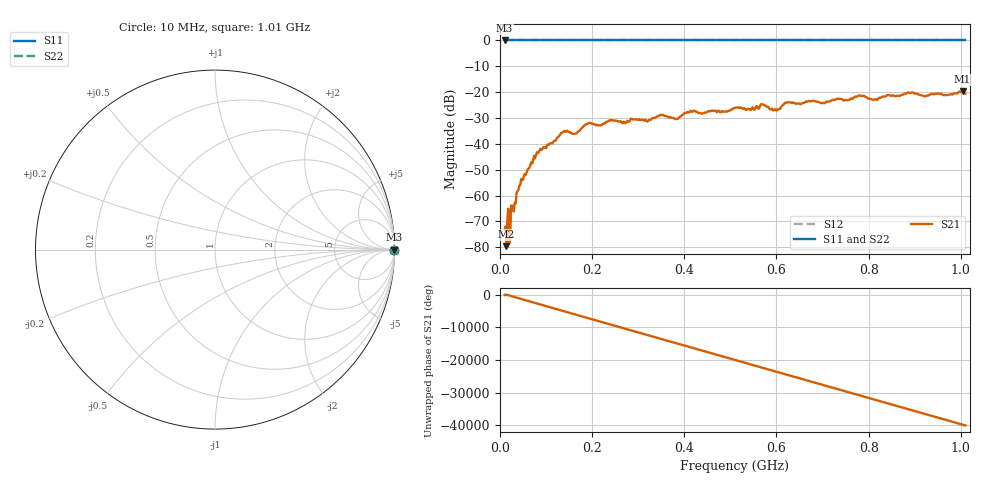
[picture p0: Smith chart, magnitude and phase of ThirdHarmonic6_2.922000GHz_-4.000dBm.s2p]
! 8/17/2025 8:08:01 AM
! C:\ANRITSUVNA\TEMP\TEMP.S2P
! CHANNEL.1
! TR.MEASUREMENT
! RAW.DATA
! RF.CORRECTION.OFF
! AVERAGING.OFF
! IF.BANDWIDTH: 5KHZ
! SWEEPTYPE:  FREQ.SWEEP(Linear)
! Reference Plane Port Info
! PORT:  PORT1  PORT2
! DISTANCE:  0  m  0  m
! TIME:  0  s  0  s
! PHASE.OFFSET:  0  deg.  0  deg.
! LOSS:  0  dB  0  dB
! REF.LOSS:  0  dB  0  dB
! REF.FREQ:  0  Hz  0  Hz
! Power Info
! POWER:  -20  dBm  -20  dBm
! EFF.POWER:  -20  dBm  -20  dBm
! SOURCE.ATTEN:  0  dB  0  dB
! TEST.ATTEN:  0  dB  0  dB
# GHZ S RI R 50.0
! FREQ.GHZ  S11RE  S11IM  S21RE  S21IM  S12RE  S12IM  S22RE  S22IM
!; PortSelection: Port_12
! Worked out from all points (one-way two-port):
!   501 points, 10 MHz to 1.01 GHz, reference 50 ohm
!   highest |S21| = -19.63 dB at 1.004 GHz (marker M1); lowest = -79.6 dB at 14 MHz (marker M2)
!   lowest |S11| = 0.0 dB at 10 MHz (marker M3)
!   |S11| at or under -10 dB: nowhere
!   |S22| runs from 0.0 to 0.0 dB; largest |S21 - S12| = 1.1
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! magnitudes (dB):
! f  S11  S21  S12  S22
! 10 MHz  0.0  -73.1  0.0  0.0
! 14 MHz  0.0  -79.6  0.0  0.0
! 18 MHz  0.0  -65.1  0.0  0.0
! 20 MHz  0.0  -78.5  0.0  0.0
! 24 MHz  0.0  -64.0  0.0  0.0
! 28 MHz  0.0  -65.4  0.0  0.0
! 42 MHz  0.0  -56.2  0.0  0.0
! 84 MHz  0.0  -43.2  0.0  0.0
! 136 MHz  0.0  -35.6  0.0  0.0
! 162 MHz  0.0  -36.1  0.0  0.0
! 178 MHz  0.0  -33.8  0.0  0.0
! 344 MHz  0.0  -29.3  0.0  0.0
! 384 MHz  0.0  -30.3  0.0  0.0
! 416 MHz  0.0  -27.5  0.0  0.0
! 510 MHz  0.0  -26.1  0.0  0.0
! 570 MHz  0.0  -24.7  0.0  0.0
! 598 MHz  0.0  -26.7  0.0  0.0
! 622 MHz  0.0  -24.0  0.0  0.0
! 678 MHz  0.0  -23.4  0.0  0.0
! 844 MHz  0.0  -21.1  0.0  0.0
! 1.004 GHz  0.0  -19.6  0.0  0.0
! 1.01 GHz  0.0  -20.6  0.0  0.0
